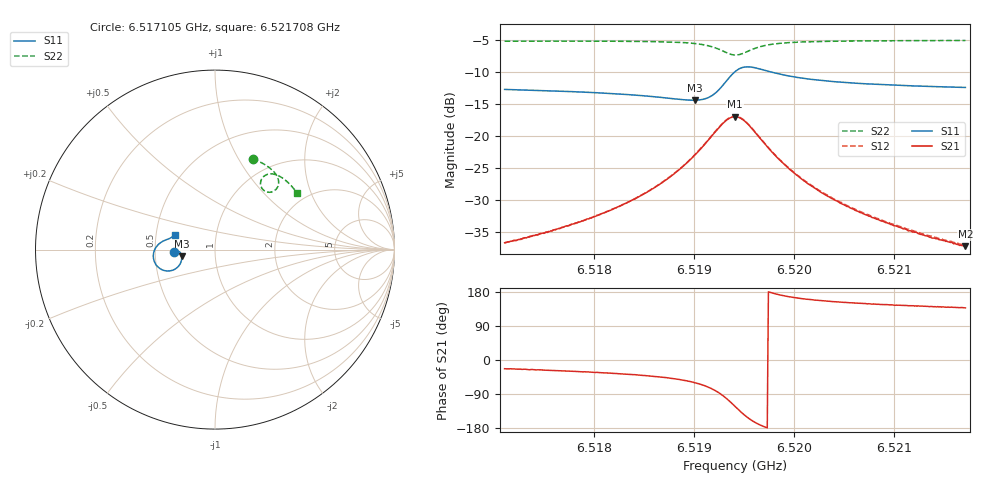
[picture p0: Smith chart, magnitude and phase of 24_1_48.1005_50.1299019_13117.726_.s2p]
#  HZ  S  RI  R  50.00
! Rohde & Schwarz Vector Network Analyzer
! Rohde-Schwarz,ZNB20-2Port,1311601062101988,3.16
! Created: UTC 12/23/2023, 3:36:59 AM
! freq[Hz]  re:S11  im:S11  re:S21  im:S21  re:S12  im:S12  re:S22  im:S22
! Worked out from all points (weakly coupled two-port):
!   401 points, 6.517105 GHz to 6.521708 GHz, reference 50 ohm
!   highest |S21| = -17.00 dB at 6.519407 GHz (marker M1); lowest = -37.2 dB at 6.521708 GHz (marker M2)
!   lowest |S11| = -14.4 dB at 6.519004 GHz (marker M3), VSWR 1.47, Z = 34.2 - j2.59 ohm
!   |S11| at or under -10 dB: start of sweep to 6.519405 GHz; 6.519761 GHz to end of sweep
!   |S22| runs from -7.4 to -5.1 dB; largest |S21 - S12| = 0.0042
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6.5171048e9  -0.2301 -0.0149  0.0135 -0.00571  0.0136 -0.00516  0.2113 0.5063
6.5175537e9  -0.2247 -0.00867  0.0159 -0.00811  0.0162 -0.00772  0.2446 0.4915
6.5178759e9  -0.2199 -0.00523  0.0185 -0.0111  0.0189 -0.0105  0.2685 0.479
6.5182442e9  -0.2123 -0.00338  0.0226 -0.0165  0.0231 -0.0158  0.296 0.4613
6.5184283e9  -0.2074 -0.0045  0.0254 -0.0208  0.0262 -0.0202  0.3102 0.4505
6.518647e9  -0.2002 -0.00878  0.0296 -0.0291  0.0307 -0.0282  0.3271 0.4346
6.5188426e9  -0.1922 -0.0189  0.0338 -0.0419  0.0353 -0.0412  0.3425 0.4151
6.5190038e9  -0.1862 -0.0365  0.0355 -0.061  0.0377 -0.0603  0.3527 0.3913
6.5191073e9  -0.1863 -0.0567  0.0322 -0.0804  0.0347 -0.08  0.3546 0.3697
6.5191879e9  -0.1938 -0.0788  0.022 -0.1003  0.0251 -0.1004  0.3491 0.3491
6.5193145e9  -0.2379 -0.1155  -0.0231 -0.1291  -0.0193 -0.1308  0.3146 0.3207
6.5194066e9  -0.2969 -0.1113  -0.0756 -0.1193  -0.0727 -0.1224  0.2736 0.3287
6.5194526e9  -0.3225 -0.0922  -0.0961 -0.0998  -0.094 -0.1033  0.2592 0.3455
6.5195101e9  -0.3403 -0.0601  -0.1084 -0.0699  -0.1072 -0.0735  0.2535 0.3703
6.5196022e9  -0.3407 -0.0134  -0.1036 -0.0297  -0.1036 -0.033  0.2657 0.4017
6.5197058e9  -0.3243 0.0188  -0.0862 -0.00474  -0.0867 -0.0074  0.2888 0.4178
6.5199245e9  -0.2922 0.0457  -0.0561 0.0119  -0.0569 0.0104  0.3289 0.4204
6.5201776e9  -0.27 0.0557  -0.0375 0.0144  -0.0384 0.0136  0.3593 0.4088
6.5204999e9  -0.254 0.0618  -0.0254 0.0135  -0.0262 0.013  0.3867 0.3905
6.5209487e9  -0.2404 0.0684  -0.017 0.0117  -0.0176 0.0114  0.4167 0.3639
6.521363e9  -0.2315 0.0741  -0.0126 0.01  -0.0131 0.0101  0.4397 0.3386
6.5217083e9  -0.2254 0.0789  -0.0101 0.00929  -0.0106 0.00907  0.4569 0.3173
